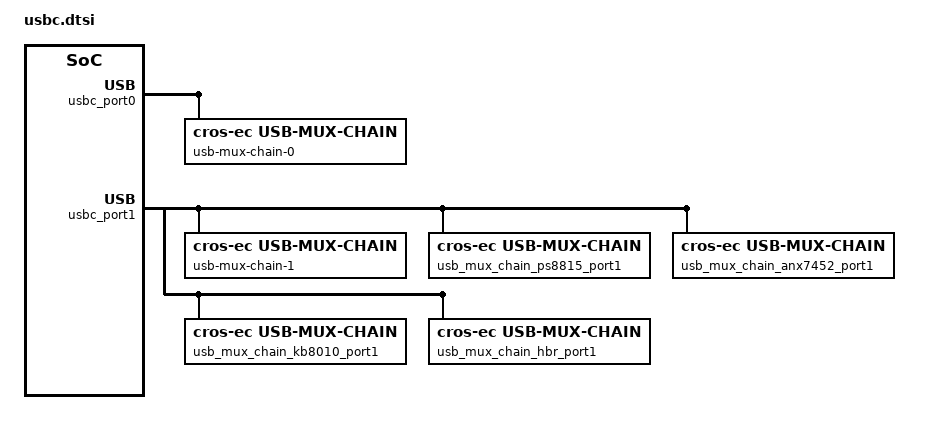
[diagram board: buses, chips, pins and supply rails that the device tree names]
/* Copyright 2022 The ChromiumOS Authors
 * Use of this source code is governed by a BSD-style license that can be
 * found in the LICENSE file.
 */

/ {
	usbc {
		#address-cells = <1>;
		#size-cells = <0>;

		usbc_port0: port0@0 {
			compatible = "named-usbc-port";
			reg = <0>;
			bc12 = <&bc12_port0>;
			ppc = <&ppc_port0_syv>;
			tcpc = <&tcpc_port0>;
			chg = <&charger>;
			usb-mux-chain-0 {
				compatible = "cros-ec,usb-mux-chain";
				usb-muxes = <&usb_c0_hb_retimer
					     &virtual_mux_c0>;
			};
		};
		port0-muxes {
			virtual_mux_c0: virtual-mux-c0 {
				compatible = "cros-ec,usbc-mux-virtual";
			};
		};

		usbc_port1: port1@1 {
			compatible = "named-usbc-port";
			reg = <1>;
			bc12 = <&bc12_port1>;
			usb-mux-chain-1 {
				compatible = "cros-ec,usb-mux-chain";
				usb-muxes = <&virtual_mux_c1>;
			};
			usb_mux_chain_ps8815_port1: usb-mux-chain-ps8815-1 {
				compatible = "cros-ec,usb-mux-chain";
				usb-muxes = <&virtual_mux_c1 &tcpci_mux_c1>;
				alternative-chain;
			};
			usb_mux_chain_anx7452_port1: usb-mux-chain-1-anx7452 {
				compatible = "cros-ec,usb-mux-chain";
				usb-muxes = <&usb_c1_anx7452_retimer
					     &virtual_mux_c1>;
				alternative-chain;
			};
			usb_mux_chain_kb8010_port1: usb-mux-chain-1-kb8010 {
				compatible = "cros-ec,usb-mux-chain";
				usb-muxes = <&usb_c1_kb8010_retimer
					     &virtual_mux_c1>;
				alternative-chain;
			};
			usb_mux_chain_hbr_port1: usb-mux-chain-1-hbr {
				compatible = "cros-ec,usb-mux-chain";
				usb-muxes = <&usb_c1_hb_retimer
					     &virtual_mux_c1>;
				alternative-chain;
			};
		};
		port1-muxes {
			tcpci_mux_c1: tcpci-mux-c1 {
				compatible = "cros-ec,usbc-mux-tcpci";
				hpd-update = "ps8xxx_tcpc_update_hpd_status";
			};
			virtual_mux_c1: virtual-mux-c1 {
				compatible = "cros-ec,usbc-mux-virtual";
			};
		};
	};
};
